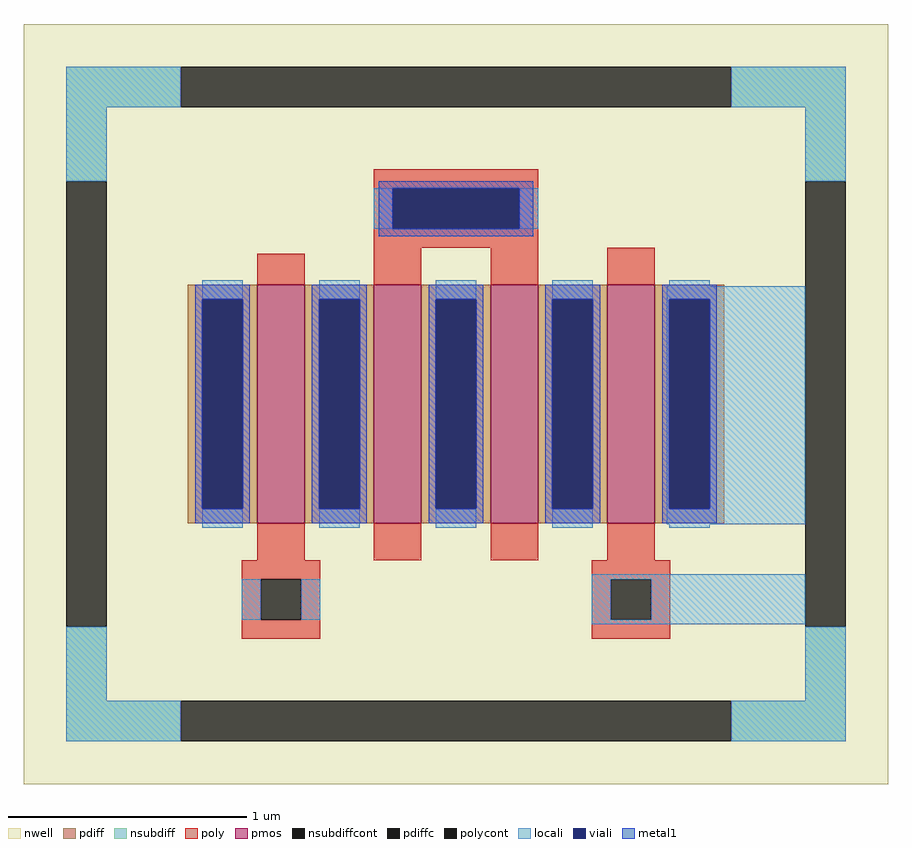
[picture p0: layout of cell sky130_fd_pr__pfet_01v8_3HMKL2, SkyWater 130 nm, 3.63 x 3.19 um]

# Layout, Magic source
magic
tech sky130A
magscale 1 2
<< nwell >>
rect -363 -319 363 319
<< pmos >>
rect -167 -100 -127 100
rect -69 -100 -29 100
rect 29 -100 69 100
rect 127 -100 167 100
<< pdiff >>
rect -225 88 -167 100
rect -225 -88 -213 88
rect -179 -88 -167 88
rect -225 -100 -167 -88
rect -127 88 -69 100
rect -127 -88 -115 88
rect -81 -88 -69 88
rect -127 -100 -69 -88
rect -29 88 29 100
rect -29 -88 -17 88
rect 17 -88 29 88
rect -29 -100 29 -88
rect 69 88 127 100
rect 69 -88 81 88
rect 115 -88 127 88
rect 69 -100 127 -88
rect 167 88 225 100
rect 167 -88 179 88
rect 213 -88 225 88
rect 167 -100 225 -88
<< pdiffc >>
rect -213 -88 -179 88
rect -115 -88 -81 88
rect -17 -88 17 88
rect 81 -88 115 88
rect 179 -88 213 88
<< nsubdiff >>
rect -327 249 -231 283
rect 231 249 327 283
rect -327 187 -293 249
rect 293 187 327 249
rect -327 -249 -293 -187
rect 293 -249 327 -187
rect -327 -283 -231 -249
rect 231 -283 327 -249
<< nsubdiffcont >>
rect -231 249 231 283
rect -327 -187 -293 187
rect 293 -187 327 187
rect -231 -283 231 -249
<< poly >>
rect -69 181 69 197
rect -69 147 -53 181
rect 53 147 69 181
rect -69 131 69 147
rect -167 100 -127 126
rect -69 100 -29 131
rect 29 100 69 131
rect 127 100 167 131
rect -167 -131 -127 -100
rect -69 -131 -29 -100
rect 29 -131 69 -100
rect 127 -131 167 -100
rect -180 -147 -114 -131
rect -180 -181 -164 -147
rect -130 -181 -114 -147
rect -180 -197 -114 -181
rect 114 -147 180 -131
rect 114 -181 130 -147
rect 164 -181 180 -147
rect 114 -197 180 -181
<< polycont >>
rect -53 147 53 181
rect -164 -181 -130 -147
rect 130 -181 164 -147
<< locali >>
rect -327 249 -231 283
rect 231 249 327 283
rect -327 187 -293 249
rect 293 187 327 249
rect -69 147 -53 181
rect 53 147 69 181
rect -213 88 -179 104
rect -213 -104 -179 -88
rect -115 88 -81 104
rect -115 -104 -81 -88
rect -17 88 17 104
rect -17 -104 17 -88
rect 81 88 115 104
rect 179 99 213 104
rect 81 -104 115 -88
rect 177 88 293 99
rect 177 -88 179 88
rect 213 -88 293 88
rect 177 -101 293 -88
rect 179 -104 213 -101
rect 114 -147 293 -143
rect -180 -181 -164 -147
rect -130 -181 -114 -147
rect 114 -181 130 -147
rect 164 -181 293 -147
rect 114 -185 293 -181
rect -327 -249 -293 -187
rect 293 -249 327 -187
rect -327 -283 -231 -249
rect 231 -283 327 -249
<< viali >>
rect -53 147 53 181
rect -213 -88 -179 88
rect -115 -88 -81 88
rect -17 -88 17 88
rect 81 -88 115 88
rect 179 -88 213 88
<< metal1 >>
rect -65 181 65 187
rect -65 147 -53 181
rect 53 147 65 181
rect -65 141 65 147
rect -219 88 -173 100
rect -219 -88 -213 88
rect -179 -88 -173 88
rect -219 -100 -173 -88
rect -121 88 -75 100
rect -121 -88 -115 88
rect -81 -88 -75 88
rect -121 -100 -75 -88
rect -23 88 23 100
rect -23 -88 -17 88
rect 17 -88 23 88
rect -23 -100 23 -88
rect 75 88 121 100
rect 75 -88 81 88
rect 115 -88 121 88
rect 75 -100 121 -88
rect 173 88 219 100
rect 173 -88 179 88
rect 213 -88 219 88
rect 173 -100 219 -88
<< properties >>
string FIXED_BBOX -310 -266 310 266
string gencell sky130_fd_pr__pfet_01v8
string library sky130
string parameters w 1 l 0.2 m 1 nf 4 diffcov 100 polycov 100 guard 1 glc 1 grc 1 gtc 1 gbc 1 tbcov 100 rlcov 100 topc 1 botc 1 poverlap 0 doverlap 1 lmin 0.15 wmin 0.42 compatible {sky130_fd_pr__pfet_01v8  sky130_fd_pr__pfet_01v8_lvt sky130_fd_pr__pfet_01v8_hvt  sky130_fd_pr__pfet_g5v0d10v5} full_metal 1 viasrc 100 viadrn 100 viagate 100 viagb 0 viagr 0 viagl 0 viagt 0
<< end >>
